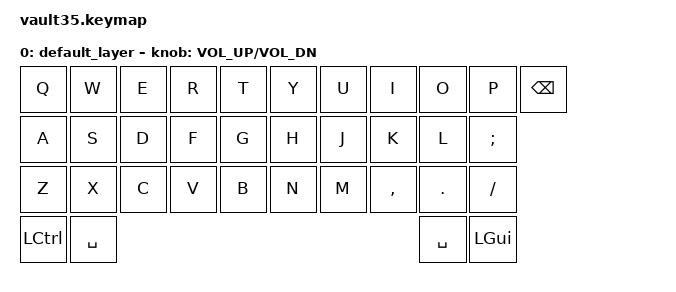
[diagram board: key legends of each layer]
/*
 * Copyright (c) 2020 The ZMK Contributors
 *
 * SPDX-License-Identifier: MIT
 */

#include <behaviors.dtsi>
#include <dt-bindings/zmk/keys.h>

/ {
    keymap {
        compatible = "zmk,keymap";

		default_layer {
			// -----------------------------------------------------------------------------------------
			// |  TAB  |  Q   |  W   |  E   |  R   |  T   |   Y   |  U    |  I   |  O   |   P   | BSPC  |
			// |  ESC  |  A   |  S   |  D   |  F   |  G   |   H   |  J    |  K   |  L   |   ;   |  '    |
			// | SHIFT |  Z   |  X   |  C   |  V   |  B   |   N   |  M    |  ,   |  .   |   /   |  RET  |
			// |       | LCTL | LALT | LGUI | LOWR |     SPACE    |  RAIS | LARW | DARW | UARW  |  RARW |
			bindings = <
				&kp Q    &kp W &kp E &kp R &kp T  &kp Y   &kp U  &kp I    &kp O   &kp P    &kp BSPC
				&kp A    &kp S &kp D &kp F &kp G  &kp H   &kp J  &kp K    &kp L   &kp SEMI
				&kp Z    &kp X &kp C &kp V &kp B  &kp N   &kp M  &kp COMMA &kp DOT &kp SLASH
				&kp LCTRL            &kp SPACE              &kp SPACE           &kp LGUI 
			>;

		sensor-bindings = <&inc_dec_kp C_VOL_UP C_VOL_DN>;
		};

    };
};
